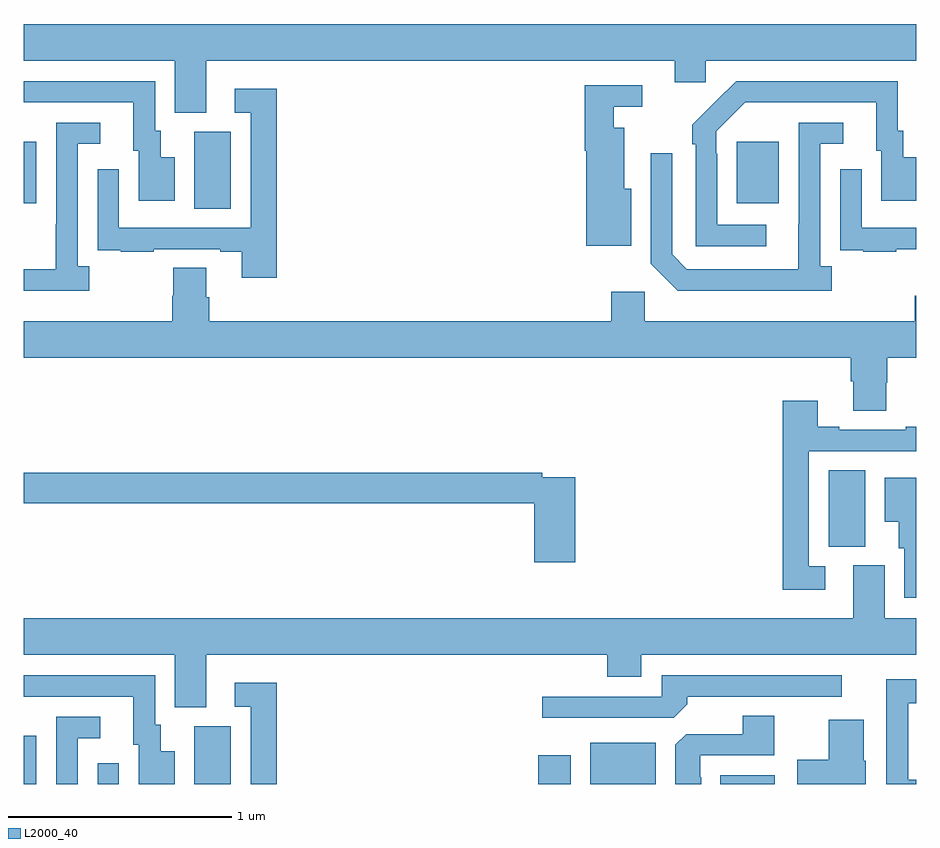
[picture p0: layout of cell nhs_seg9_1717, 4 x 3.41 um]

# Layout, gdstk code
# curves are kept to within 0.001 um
import gdstk
lib = gdstk.Library(unit=1e-6, precision=1e-09)
def R(c, l, rs):  # rectangles x0, y0, x1, y1
    for r in rs: c.add(gdstk.rectangle(r[:2], r[2:], *l))
def P(c, l, *ps):  # polygons
    for p in ps: c.add(gdstk.Polygon(p, *l))
L2000_40 = (2000, 40)

nhs_seg9_1717 = lib.new_cell('nhs_seg9_1717')
R(nhs_seg9_1717, L2000_40, [(207,1202.5,207.055,1202.716), (207.33,1202.5,207.426,1202.593), (207.764,1202.5,207.928,1202.76), (209.306,1202.5,209.452,1202.629), (209.54,1202.5,209.833,1202.686), (210.122,1202.5,210.367,1202.539), (210.608,1203.565,210.772,1203.908), (207.764,1205.08,207.928,1205.424), (207,1205.105,207.055,1205.38), (210.197,1205.105,210.385,1205.38)])
P(nhs_seg9_1717, L2000_40, [(207.817,1205.744),(209.918,1205.744),(209.918,1205.646),(210.057,1205.646),(210.057,1205.744),(211,1205.744),(211,1205.908),(207,1205.908),(207,1205.744),(207.677,1205.744),(207.677,1205.509),(207.817,1205.509)],
  [(210.328,1205.007),(210.108,1205.007),(210.108,1205.327),(210.105,1205.327),(210.105,1205.427),(210.234,1205.556),(210.821,1205.556),(210.821,1205.34),(210.845,1205.34),(210.845,1205.115),(211,1205.115),(211,1205.311),(210.943,1205.311),(210.943,1205.43),(210.918,1205.43),(210.918,1205.652),(210.194,1205.652),(209.997,1205.457),(209.997,1205.369),(210.012,1205.369),(210.012,1204.911),(210.328,1204.911)],
  [(207.676,1205.311),(207.613,1205.311),(207.613,1205.43),(207.588,1205.43),(207.588,1205.652),(207,1205.652),(207,1205.556),(207.491,1205.556),(207.491,1205.34),(207.515,1205.34),(207.515,1205.115),(207.676,1205.115)],
  [(209.722,1205.17),(209.692,1205.17),(209.692,1205.443),(209.644,1205.443),(209.644,1205.538),(209.773,1205.538),(209.773,1205.634),(209.515,1205.634),(209.515,1205.339),(209.522,1205.339),(209.522,1204.913),(209.722,1204.913)],
  [(208.133,1205.617),(207.945,1205.617),(207.945,1205.511),(208.017,1205.511),(208.017,1204.995),(207.426,1204.995),(207.426,1205.257),(207.33,1205.257),(207.33,1205.002),(207.331,1205.002),(207.331,1204.893),(207.433,1204.893),(207.433,1204.887),(207.581,1204.887),(207.581,1204.899),(207.881,1204.899),(207.881,1204.887),(207.977,1204.887),(207.977,1204.77),(208.133,1204.77)],
  [(210.622,1204.822),(210.57,1204.822),(210.57,1205.37),(210.673,1205.37),(210.673,1205.466),(210.474,1205.466),(210.473,1204.809),(209.973,1204.809),(209.907,1204.875),(209.907,1205.329),(209.811,1205.329),(209.811,1204.833),(209.932,1204.712),(210.622,1204.712)],
  [(207.292,1204.822),(207.24,1204.822),(207.24,1205.37),(207.343,1205.37),(207.343,1205.466),(207.144,1205.466),(207.144,1205.009),(207.143,1205.009),(207.143,1204.809),(207,1204.809),(207,1204.712),(207.292,1204.712)],
  [(210.911,1204.899),(211,1204.899),(211,1204.995),(210.756,1204.995),(210.756,1205.257),(210.66,1205.257),(210.66,1205.002),(210.661,1205.002),(210.661,1204.893),(210.763,1204.893),(210.763,1204.887),(210.911,1204.887)],
  [(210.867,1204.299),(210.872,1204.299),(210.872,1204.412),(211,1204.412),(211,1204.689),(210.995,1204.689),(210.995,1204.576),(209.784,1204.576),(209.784,1204.708),(209.633,1204.708),(209.633,1204.576),(207.83,1204.576),(207.83,1204.682),(207.817,1204.682),(207.817,1204.814),(207.67,1204.814),(207.67,1204.689),(207.665,1204.689),(207.665,1204.576),(207,1204.576),(207,1204.412),(210.707,1204.412),(210.707,1204.306),(210.719,1204.306),(210.719,1204.174),(210.867,1204.174)],
  [(210.592,1203.477),(210.519,1203.477),(210.519,1203.993),(211,1203.993),(211,1204.102),(210.955,1204.102),(210.955,1204.089),(210.655,1204.089),(210.655,1204.102),(210.559,1204.102),(210.559,1204.219),(210.403,1204.219),(210.403,1203.372),(210.592,1203.372)],
  [(209.471,1203.876),(209.324,1203.876),(209.324,1203.896),(207,1203.896),(207,1203.76),(209.288,1203.76),(209.288,1203.495),(209.471,1203.495)],
  [(211,1203.874),(210.86,1203.874),(210.86,1203.677),(210.923,1203.677),(210.923,1203.558),(210.948,1203.558),(210.948,1203.336),(211,1203.336)],
  [(207.817,1203.08),(209.615,1203.08),(209.615,1202.981),(209.767,1202.981),(209.767,1203.08),(211,1203.08),(211,1203.244),(210.859,1203.244),(210.859,1203.48),(210.719,1203.48),(210.719,1203.244),(207,1203.244),(207,1203.08),(207.677,1203.08),(207.677,1202.845),(207.817,1202.845)],
  [(207.676,1202.647),(207.613,1202.647),(207.613,1202.766),(207.588,1202.766),(207.588,1202.988),(207,1202.988),(207,1202.892),(207.491,1202.892),(207.491,1202.676),(207.515,1202.676),(207.515,1202.5),(207.676,1202.5)],
  [(209.975,1202.858),(209.975,1202.892),(210.667,1202.892),(210.667,1202.988),(209.859,1202.988),(209.859,1202.892),(209.325,1202.892),(209.325,1202.796),(209.913,1202.796)],
  [(211,1202.518),(210.965,1202.518),(210.965,1202.862),(211,1202.862),(211,1202.97),(210.867,1202.97),(210.867,1202.5),(211,1202.5)],
  [(208.133,1202.953),(207.945,1202.953),(207.945,1202.847),(208.017,1202.847),(208.017,1202.5),(208.133,1202.5)],
  [(210.037,1202.531),(210.033,1202.531),(210.033,1202.628),(210.364,1202.628),(210.364,1202.807),(210.224,1202.807),(210.224,1202.724),(209.97,1202.724),(209.921,1202.675),(209.921,1202.5),(210.037,1202.5)],
  [(207.24,1202.706),(207.343,1202.706),(207.343,1202.802),(207.144,1202.802),(207.144,1202.5),(207.24,1202.5)],
  [(210.775,1202.604),(210.766,1202.604),(210.766,1202.788),(210.608,1202.788),(210.608,1202.608),(210.468,1202.608),(210.468,1202.5),(210.775,1202.5)])

lib.write_gds('nhs_seg9_1717.gds')
